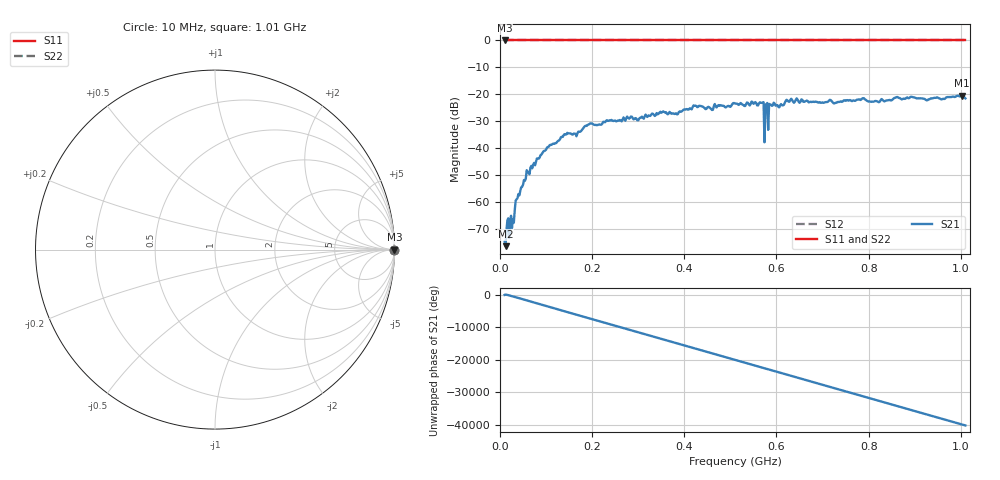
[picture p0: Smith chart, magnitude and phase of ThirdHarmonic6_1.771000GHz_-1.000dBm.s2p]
! 8/16/2025 9:23:52 PM
! C:\ANRITSUVNA\TEMP\TEMP.S2P
! CHANNEL.1
! TR.MEASUREMENT
! RAW.DATA
! RF.CORRECTION.OFF
! AVERAGING.OFF
! IF.BANDWIDTH: 5KHZ
! SWEEPTYPE:  FREQ.SWEEP(Linear)
! Reference Plane Port Info
! PORT:  PORT1  PORT2
! DISTANCE:  0  m  0  m
! TIME:  0  s  0  s
! PHASE.OFFSET:  0  deg.  0  deg.
! LOSS:  0  dB  0  dB
! REF.LOSS:  0  dB  0  dB
! REF.FREQ:  0  Hz  0  Hz
! Power Info
! POWER:  -20  dBm  -20  dBm
! EFF.POWER:  -20  dBm  -20  dBm
! SOURCE.ATTEN:  0  dB  0  dB
! TEST.ATTEN:  0  dB  0  dB
# GHZ S RI R 50.0
! FREQ.GHZ  S11RE  S11IM  S21RE  S21IM  S12RE  S12IM  S22RE  S22IM
!; PortSelection: Port_12
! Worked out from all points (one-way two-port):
!   501 points, 10 MHz to 1.01 GHz, reference 50 ohm
!   highest |S21| = -20.46 dB at 1.002 GHz (marker M1); lowest = -76.3 dB at 12 MHz (marker M2)
!   lowest |S11| = 0.0 dB at 10 MHz (marker M3)
!   |S11| at or under -10 dB: nowhere
!   |S22| runs from 0.0 to 0.0 dB; largest |S21 - S12| = 1.1
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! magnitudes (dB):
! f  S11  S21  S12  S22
! 10 MHz  0.0  -74.6  0.0  0.0
! 12 MHz  0.0  -76.3  0.0  0.0
! 20 MHz  0.0  -73.3  0.0  0.0
! 28 MHz  0.0  -66.2  0.0  0.0
! 38 MHz  0.0  -58.5  0.0  0.0
! 70 MHz  0.0  -47.4  0.0  0.0
! 136 MHz  0.0  -35.8  0.0  0.0
! 178 MHz  0.0  -33.1  0.0  0.0
! 196 MHz  0.0  -30.8  0.0  0.0
! 344 MHz  0.0  -27.2  0.0  0.0
! 510 MHz  0.0  -23.4  0.0  0.0
! 568 MHz  0.0  -23.2  0.0  0.0
! 570 MHz  0.0  -23.0  0.0  0.0
! 576 MHz  0.0  -23.8  0.0  0.0
! 578 MHz  0.0  -23.8  0.0  0.0
! 580 MHz  0.0  -23.2  0.0  0.0
! 586 MHz  0.0  -23.9  0.0  0.0
! 588 MHz  0.0  -23.8  0.0  0.0
! 678 MHz  0.0  -22.8  0.0  0.0
! 844 MHz  0.0  -22.1  0.0  0.0
! 1.002 GHz  0.0  -20.5  0.0  0.0
! 1.01 GHz  0.0  -21.5  0.0  0.0
